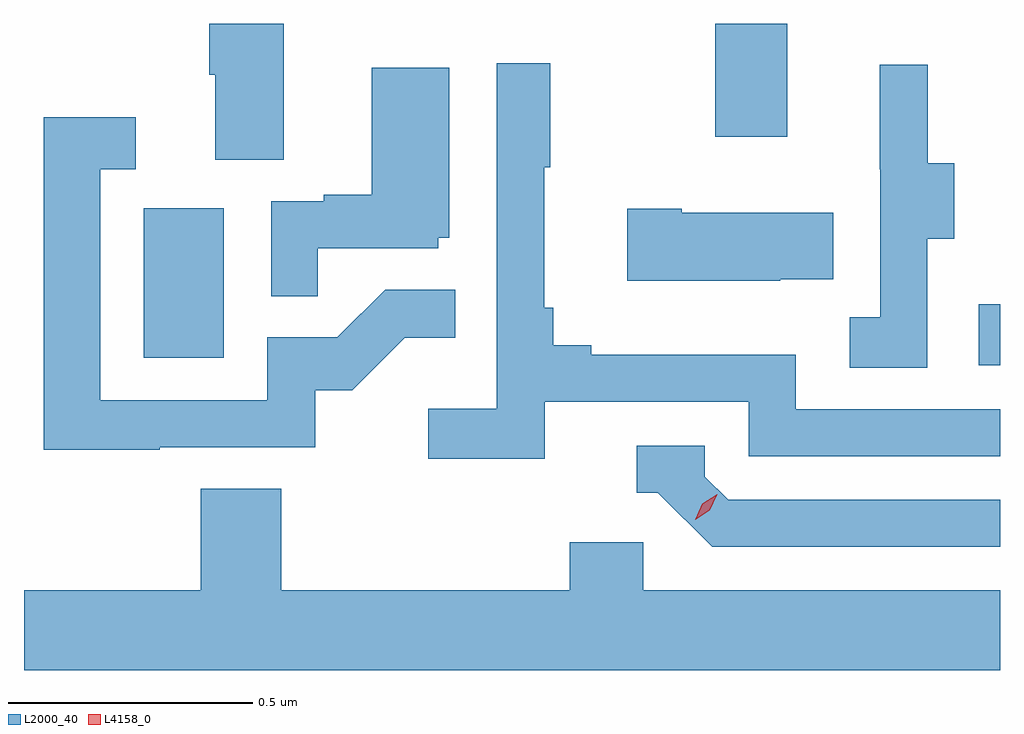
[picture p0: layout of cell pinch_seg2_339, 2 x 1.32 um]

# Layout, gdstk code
import gdstk
lib = gdstk.Library(unit=1e-6, precision=1e-09)
def R(c, l, rs):  # rectangles x0, y0, x1, y1
    for r in rs: c.add(gdstk.rectangle(r[:2], r[2:], *l))
def P(c, l, *ps):  # polygons
    for p in ps: c.add(gdstk.Polygon(p, *l))
L2000_40 = (2000, 40)
L4158_0 = (4158, 0)

pinch_seg2_339 = lib.new_cell('pinch_seg2_339')
R(pinch_seg2_339, L2000_40, [(995.979,637.605,996.023,637.73), (994.268,637.62,994.432,637.927), (995.44,638.073,995.587,638.305)])
P(pinch_seg2_339, L2000_40, [(994.555,638.305),(994.403,638.305),(994.403,638.2),(994.415,638.2),(994.415,638.026),(994.555,638.026)],
  [(995.09,637.53),(995.508,637.53),(995.508,637.419),(996.023,637.419),(996.023,637.515),(995.604,637.515),(995.604,637.627),(995.185,637.627),(995.185,637.646),(995.108,637.646),(995.108,637.723),(995.089,637.723),(995.089,638.011),(995.101,638.011),(995.101,638.224),(994.992,638.224),(994.992,637.516),(994.851,637.516),(994.851,637.414),(995.09,637.414)],
  [(995.874,637.864),(995.929,637.864),(995.929,638.019),(995.875,638.019),(995.875,638.221),(995.777,638.221),(995.777,638.007),(995.778,638.007),(995.778,637.703),(995.715,637.703),(995.715,637.6),(995.874,637.6)],
  [(994.625,637.845),(994.872,637.845),(994.872,637.866),(994.894,637.866),(994.894,638.215),(994.736,638.215),(994.736,637.954),(994.637,637.954),(994.637,637.941),(994.53,637.941),(994.53,637.747),(994.625,637.747)],
  [(994.301,637.437),(994.62,637.437),(994.62,637.554),(994.696,637.554),(994.803,637.661),(994.907,637.661),(994.907,637.76),(994.763,637.76),(994.665,637.662),(994.521,637.662),(994.521,637.533),(994.179,637.533),(994.179,638.007),(994.252,638.007),(994.252,638.113),(994.063,638.113),(994.063,637.432),(994.301,637.432)],
  [(995.573,637.781),(995.681,637.781),(995.681,637.918),(995.371,637.918),(995.371,637.926),(995.259,637.926),(995.259,637.778),(995.573,637.778)],
  [(996.023,637.329),(995.466,637.329),(995.418,637.377),(995.418,637.44),(995.279,637.44),(995.279,637.344),(995.322,637.344),(995.433,637.233),(996.023,637.233)],
  [(996.023,637.144),(995.292,637.144),(995.292,637.242),(995.141,637.242),(995.141,637.144),(994.55,637.144),(994.55,637.352),(994.385,637.352),(994.385,637.144),(994.023,637.144),(994.023,636.98),(996.023,636.98)])
P(pinch_seg2_339, L4158_0, [(995.398,637.288),(995.398,637.289),(995.413,637.321),(995.444,637.341),(995.444,637.341),(995.444,637.341),(995.428,637.308),(995.398,637.288)])

lib.write_gds('pinch_seg2_339.gds')
